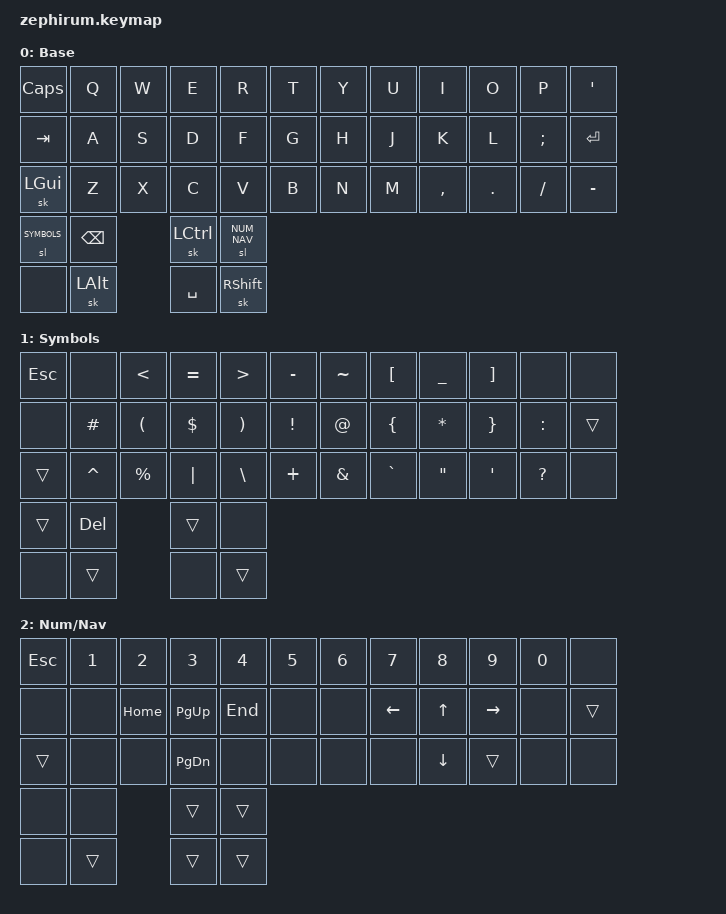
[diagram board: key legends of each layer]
/*
 * Copyright (c) 2021 The ZMK Contributors
 *
 * SPDX-License-Identifier: MIT
 */

#include <behaviors.dtsi>
#include <dt-bindings/zmk/keys.h>
#include <dt-bindings/zmk/bt.h>
#include <dt-bindings/zmk/outputs.h>

#define BASE        0
#define SYMBOLS     1
#define NUM_NAV     2

#define COMPOSE CAPS

/ {
	keymap {
		compatible = "zmk,keymap";

		default_layer {
			label = "Base";

			bindings = <
&kp COMPOSE &kp Q &kp W &kp E &kp R &kp T   &kp Y &kp U &kp I     &kp O   &kp P     &kp SQT
&kp TAB     &kp A &kp S &kp D &kp F &kp G   &kp H &kp J &kp K     &kp L   &kp SEMI  &kp ENTER
&sk LGUI    &kp Z &kp X &kp C &kp V &kp B   &kp N &kp M &kp COMMA &kp DOT &kp SLASH &kp MINUS
&sl SYMBOLS &kp BSPC &sk LCTRL &sl NUM_NAV
&none       &sk LALT &kp SPACE &sk RSHIFT
			>;
		};

		symbols_layer {
			label = "Symbols";
			bindings = <
&kp ESC &none     &kp LT    &kp EQUAL &kp GT   &kp MINUS  &kp TILDE &kp LBKT  &kp UNDER &kp RBKT &none     &none
&none   &kp HASH  &kp LPAR  &kp DLLR  &kp RPAR &kp EXCL	  &kp AT    &kp LBRC  &kp STAR  &kp RBRC &kp COLON &trans
&trans  &kp CARET &kp PRCNT &kp PIPE  &kp BSLH &kp PLUS	  &kp AMPS  &kp GRAVE &kp DQT   &kp SQT  &kp QMARK &none
&trans      &kp DEL  &trans    &none
&none       &trans   &none     &trans
			>;
		};

		num_nav_layer {
			label = "Num/Nav";
			bindings = <
&kp ESC &kp N1 &kp N2   &kp N3    &kp N4  &kp N5  &kp N6 &kp N7   &kp N8   &kp N9    &kp N0 &none
&none   &none  &kp HOME &kp PG_UP &kp END &none   &none  &kp LEFT &kp UP   &kp RIGHT &none  &trans
&trans  &none  &none    &kp PG_DN &none   &none   &none  &none    &kp DOWN &trans     &none  &none
&none       &none    &trans    &trans
&none       &trans   &trans     &trans
			>;
		};
	};
};
